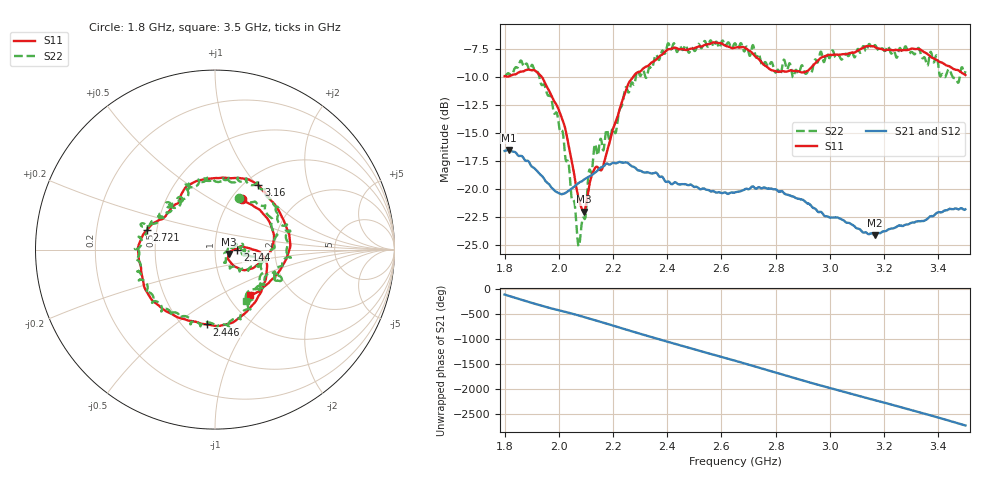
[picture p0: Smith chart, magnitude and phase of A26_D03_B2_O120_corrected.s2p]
! Created with skrf 1.9.0 (http://scikit-rf.org).
# Hz S RI R 50.0
!freq ReS11 ImS11 ReS21 ImS21 ReS12 ImS12 ReS22 ImS22
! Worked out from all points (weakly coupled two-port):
!   1601 points, 1.8 GHz to 3.5 GHz, reference 50 ohm
!   highest |S21| = -16.52 dB at 1.815 GHz (marker M1); lowest = -24.1 dB at 3.165 GHz (marker M2)
!   lowest |S11| = -22.0 dB at 2.092 GHz (marker M3), VSWR 1.17, Z = 58.1 - j2.78 ohm
!   |S11| at or under -10 dB: 1.937 GHz to 2.275 GHz (338 MHz wide, 16.1 % of centre)
!   |S22| runs from -25.1 to -6.8 dB; largest |S21 - S12| = 0.0026
!   S11 on the Smith chart (normalised r, x): 1.8 GHz: 1.12, +0.70; 2.144 GHz: 1.29, -0.00; 2.446 GHz: 0.65, -0.66; 2.721 GHz: 0.44, +0.11; 3.16 GHz: 1.16, +1.02; 3.5 GHz: 1.26, -0.72
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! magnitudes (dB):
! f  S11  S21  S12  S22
! 1.8 GHz  -9.9  -16.6  -16.6  -9.9
! 1.815 GHz  -10.0  -16.5  -16.5  -9.7
! 1.903 GHz  -9.4  -18.0  -18.0  -9.0
! 1.968 GHz  -11.4  -19.7  -19.7  -11.7
! 2.015 GHz  -13.9  -20.4  -20.5  -15.0
! 2.071 GHz  -20.6  -19.5  -19.5  -24.9
! 2.084 GHz  -21.7  -19.3  -19.3  -23.2
! 2.092 GHz  -22.0  -19.2  -19.2  -22.6
! 2.113 GHz  -19.5  -18.8  -18.9  -18.3
! 2.144 GHz  -18.1  -18.3  -18.3  -17.0
! 2.209 GHz  -14.0  -17.7  -17.7  -15.0
! 2.259 GHz  -10.5  -17.8  -17.8  -11.4
! 2.367 GHz  -8.3  -18.8  -18.7  -8.5
! 2.446 GHz  -7.6  -19.6  -19.6  -7.2
! 2.65 GHz  -7.4  -20.3  -20.3  -7.0
! 2.721 GHz  -8.1  -19.9  -19.8  -7.6
! 2.803 GHz  -9.5  -20.0  -20.1  -9.5
! 2.934 GHz  -9.1  -21.6  -21.6  -9.6
! 3.16 GHz  -7.3  -24.0  -24.0  -7.4
! 3.165 GHz  -7.3  -24.1  -24.0  -7.2
! 3.217 GHz  -7.6  -23.6  -23.5  -7.4
! 3.5 GHz  -9.8  -21.8  -21.8  -9.5
